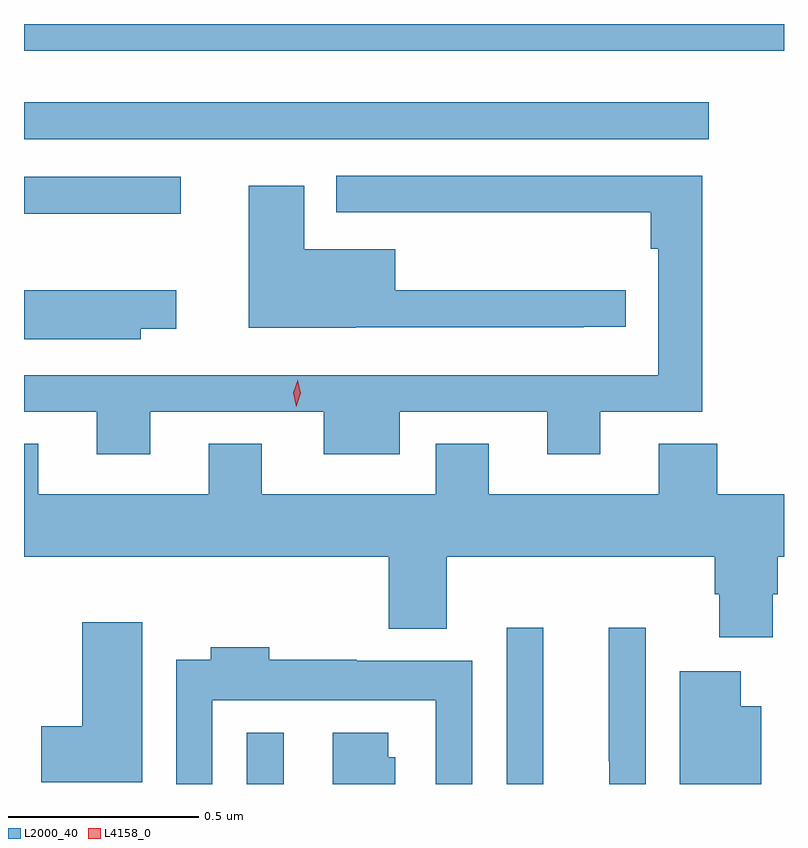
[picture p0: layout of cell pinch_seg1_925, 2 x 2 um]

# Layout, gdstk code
import gdstk
lib = gdstk.Library(unit=1e-6, precision=1e-09)
def R(c, l, rs):  # rectangles x0, y0, x1, y1
    for r in rs: c.add(gdstk.rectangle(r[:2], r[2:], *l))
def P(c, l, *ps):  # polygons
    for p in ps: c.add(gdstk.Polygon(p, *l))
L2000_40 = (2000, 40)
L4158_0 = (4158, 0)

pinch_seg1_925 = lib.new_cell('pinch_seg1_925')
R(pinch_seg1_925, L2000_40, [(502.551,525.826,502.648,525.961), (503.235,525.826,503.332,526.237), (501.965,527.327,502.378,527.424), (501.965,527.523,503.767,527.62), (501.965,527.756,503.965,527.826)])
P(pinch_seg1_925, L2000_40, [(502.297,526.806),(502.754,526.806),(502.754,526.694),(502.954,526.694),(502.954,526.806),(503.342,526.806),(503.342,526.694),(503.482,526.694),(503.482,526.806),(503.75,526.806),(503.75,527.427),(502.787,527.427),(502.787,527.331),(503.038,527.331),(503.038,527.33),(503.614,527.33),(503.614,527.234),(503.634,527.234),(503.634,526.902),(501.965,526.902),(501.965,526.806),(502.157,526.806),(502.157,526.694),(502.297,526.694)],
  [(502.838,527.028),(503.438,527.028),(503.438,527.029),(503.549,527.029),(503.549,527.126),(502.942,527.126),(502.942,527.233),(502.702,527.233),(502.702,527.401),(502.556,527.401),(502.556,527.027),(502.838,527.027)],
  [(502.272,527.024),(502.366,527.024),(502.366,527.125),(501.988,527.125),(501.988,527.126),(501.965,527.126),(501.965,526.997),(502.272,526.997)],
  [(503.935,526.326),(503.948,526.326),(503.948,526.424),(503.965,526.424),(503.965,526.588),(503.789,526.588),(503.789,526.721),(503.636,526.721),(503.636,526.588),(503.188,526.588),(503.188,526.721),(503.048,526.721),(503.048,526.588),(502.591,526.588),(502.591,526.721),(502.451,526.721),(502.451,526.588),(502.003,526.588),(502.003,526.721),(501.965,526.721),(501.965,526.424),(502.925,526.424),(502.925,526.235),(503.077,526.235),(503.077,526.424),(503.783,526.424),(503.783,526.326),(503.795,526.326),(503.795,526.212),(503.935,526.212)],
  [(502.276,526.252),(502.118,526.252),(502.118,525.978),(502.011,525.978),(502.011,525.83),(502.276,525.83)],
  [(503.601,526.237),(503.504,526.237),(503.504,525.886),(503.505,525.886),(503.505,525.826),(503.601,525.826)],
  [(502.461,526.046),(503.049,526.046),(503.049,525.826),(503.145,525.826),(503.145,526.15),(502.841,526.15),(502.841,526.153),(502.61,526.153),(502.61,526.186),(502.457,526.186),(502.457,526.153),(502.365,526.153),(502.365,525.826),(502.461,525.826)],
  [(503.905,526.03),(503.851,526.03),(503.851,526.123),(503.69,526.123),(503.69,525.826),(503.905,525.826)],
  [(502.942,525.897),(502.924,525.897),(502.924,525.961),(502.778,525.961),(502.778,525.826),(502.942,525.826)])
P(pinch_seg1_925, L4158_0, [(502.681,526.819),(502.673,526.855),(502.685,526.889),(502.685,526.89),(502.685,526.889),(502.693,526.854),(502.682,526.819),(502.682,526.819)])

lib.write_gds('pinch_seg1_925.gds')
